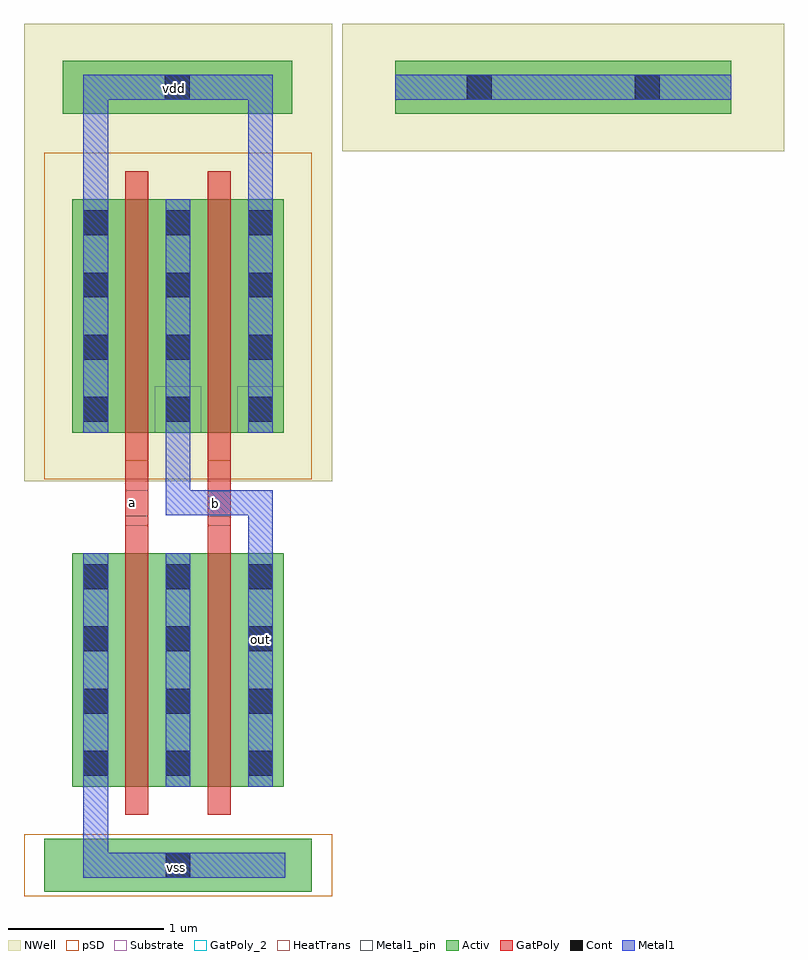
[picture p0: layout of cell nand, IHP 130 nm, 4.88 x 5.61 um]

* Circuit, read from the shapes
.subckt nand a b out vdd vss
XM1 n1 a vss vss sg13_lv_nmos w=1.5u l=0.15u
XM2 out b n1 vss sg13_lv_nmos w=1.5u l=0.15u
XM3 out a vdd vdd sg13_lv_pmos w=1.5u l=0.15u
XM4 vdd b out vdd sg13_lv_pmos w=1.5u l=0.15u
.ends

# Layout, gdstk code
import gdstk
lib = gdstk.Library(unit=1e-6, precision=5e-09)
def R(c, l, rs):  # rectangles x0, y0, x1, y1
    for r in rs: c.add(gdstk.rectangle(r[:2], r[2:], *l))
def A(c, l, x, y, w, h, nx, ny, dx, dy):  # array of equal rectangles
    R(c, l, [(x+i*dx, y+j*dy, x+i*dx+w, y+j*dy+h) for i in range(nx) for j in range(ny)])
def P(c, l, *ps):  # polygons
    for p in ps: c.add(gdstk.Polygon(p, *l))
Activ = (1, 0)
GatPoly = (5, 0)
GatPoly_2 = (5, 2)
Cont = (6, 0)
Metal1 = (8, 0)
Metal1_pin = (8, 2)
pSD = (14, 0)
NWell = (31, 0)
Substrate = (40, 0)
HeatTrans = (51, 0)

nmos_1 = lib.new_cell('nmos$1')
R(nmos_1, Activ, [(0,0,0.3,0.3), (0,0,0.83,1.5), (0.53,0,0.83,0.3)])
R(nmos_1, GatPoly, [(0.34,-0.18,0.49,1.68)])
R(nmos_1, GatPoly_2, [(0.34,-0.18,0.49,1.68)])
A(nmos_1, Cont, 0.07, 0.07, 0.16, 0.16, 1, 4, 0, 0.4)
A(nmos_1, Cont, 0.6, 0.07, 0.16, 0.16, 1, 4, 0, 0.4)
R(nmos_1, Metal1, [(0.07,0,0.23,1.5), (0.6,0,0.76,1.5)])
R(nmos_1, Metal1_pin, [(0.07,0,0.23,1.5), (0.6,0,0.76,1.5)])
R(nmos_1, HeatTrans, [(0.34,-0.18,0.49,1.68)])
nmos_1.add(gdstk.Label('nmos', (0.415,0.75), layer=63, texttype=0))
nmos_1.add(gdstk.Label('nmos', (0.415,0.75), layer=51, texttype=0))

pmos = lib.new_cell('pmos')
R(pmos, Activ, [(0,0,0.3,0.3), (0,0,0.83,1.5), (0.53,0,0.83,0.3)])
R(pmos, GatPoly, [(0.34,-0.18,0.49,1.68), (0.34,-0.18,0.49,1.68)])
A(pmos, Cont, 0.07, 0.07, 0.16, 0.16, 1, 4, 0, 0.4)
A(pmos, Cont, 0.6, 0.07, 0.16, 0.16, 1, 4, 0, 0.4)
R(pmos, Metal1, [(0.07,0,0.23,1.5), (0.07,0,0.23,1.5), (0.6,0,0.76,1.5), (0.6,0,0.76,1.5)])
R(pmos, pSD, [(-0.18,-0.3,1.01,1.8)])
R(pmos, NWell, [(-0.31,-0.31,1.14,1.81)])
R(pmos, Substrate, [(0.53,0,0.83,0.3)])
R(pmos, HeatTrans, [(0.34,-0.18,0.49,1.68)])
pmos.add(gdstk.Label('pmos', (0.415,0.75), layer=63, texttype=0))
pmos.add(gdstk.Label('pmos', (0.415,0.75), layer=51, texttype=0))

m1_cont1_pmos = lib.new_cell('M1_Cont1_PMOS')
R(m1_cont1_pmos, Activ, [(-0.535,-0.175,0.545,0.165)])
R(m1_cont1_pmos, Cont, [(-0.075,-0.085,0.085,0.075)])
R(m1_cont1_pmos, Metal1, [(-0.535,-0.085,0.545,0.075)])
R(m1_cont1_pmos, Metal1_pin, [(-0.535,-0.085,0.545,0.075)])
R(m1_cont1_pmos, NWell, [(-0.875,-0.415,0.885,0.405)])

m1_bulkcont1_pmos = lib.new_cell('M1_BulkCont1_PMOS')
r = gdstk.Reference(m1_cont1_pmos, (-0.015,-0.015)); r.repetition = gdstk.Repetition(2, 1, v1=(1.08,0), v2=(0,0)); m1_bulkcont1_pmos.add(r)

nand = lib.new_cell('nand')
R(nand, Activ, [(-2.805,-1.84,-1.085,-1.5), (-2.685,3.16,-1.21,3.5)])
R(nand, GatPoly, [(-2.285,-0.62,-2.135,1.58), (-1.755,-0.62,-1.605,1.07)])
R(nand, GatPoly_2, [(-1.755,0.57,-1.605,0.735), (-2.285,0.575,-2.135,0.74)])
R(nand, Cont, [(-2.025,-1.75,-1.865,-1.59), (-2.025,-1.75,-1.865,-1.59), (-2.03,3.25,-1.87,3.41)])
R(nand, Metal1, [(-1.495,0.09,-1.335,0.555), (-2.555,1.98,-2.395,3.41), (-1.495,1.98,-1.335,3.41), (-2.555,3.25,-1.335,3.41)])
P(nand, Metal1, [(-2.025,1.195),(-2.025,1.195),(-1.865,1.195),(-1.865,1.195)])
R(nand, Metal1_pin, [(-1.495,-0.295,-1.335,-0.135), (-2.03,3.25,-1.87,3.41)])
R(nand, pSD, [(-2.935,-1.87,-0.955,-1.47)])
R(nand, NWell, [(-2.935,2.92,-0.955,3.74)])
nand.add(gdstk.FlexPath([(-2.475,-1.015),(-2.475,-1.67),(-1.335,-1.67),(-1.255,-1.67)], 0.16, ends="flush", simple_path=True, layer=8, datatype=0))  # Metal1
nand.add(gdstk.FlexPath([(-1.415,0.105),(-1.415,-0.025)], 0.16, ends="flush", simple_path=True, layer=8, datatype=0))  # Metal1
nand.add(gdstk.FlexPath([(-1.945,1.345),(-1.945,0.66),(-1.415,0.66),(-1.415,0.335),(-1.39,0.335)], 0.16, ends="flush", simple_path=True, layer=8, datatype=0))  # Metal1
nand.add(gdstk.Reference(nmos_1, (-2.625,-1.165)))
nand.add(gdstk.Reference(nmos_1, (-2.095,-1.165)))
nand.add(gdstk.Reference(pmos, (-2.625,1.11)))
nand.add(gdstk.Reference(pmos, (-2.095,1.11)))
nand.add(gdstk.Reference(m1_bulkcont1_pmos, (0,3.35)))
nand.add(gdstk.Label('vss', (-1.955,-1.685), layer=8, texttype=2))
nand.add(gdstk.Label('vdd', (-1.965,3.325), layer=8, texttype=2))
nand.add(gdstk.Label('out', (-1.415,-0.22), layer=8, texttype=2))
nand.add(gdstk.Label('b', (-1.705,0.655), layer=5, texttype=2))
nand.add(gdstk.Label('a', (-2.235,0.66), layer=5, texttype=2))

lib.write_gds('nand.gds')
